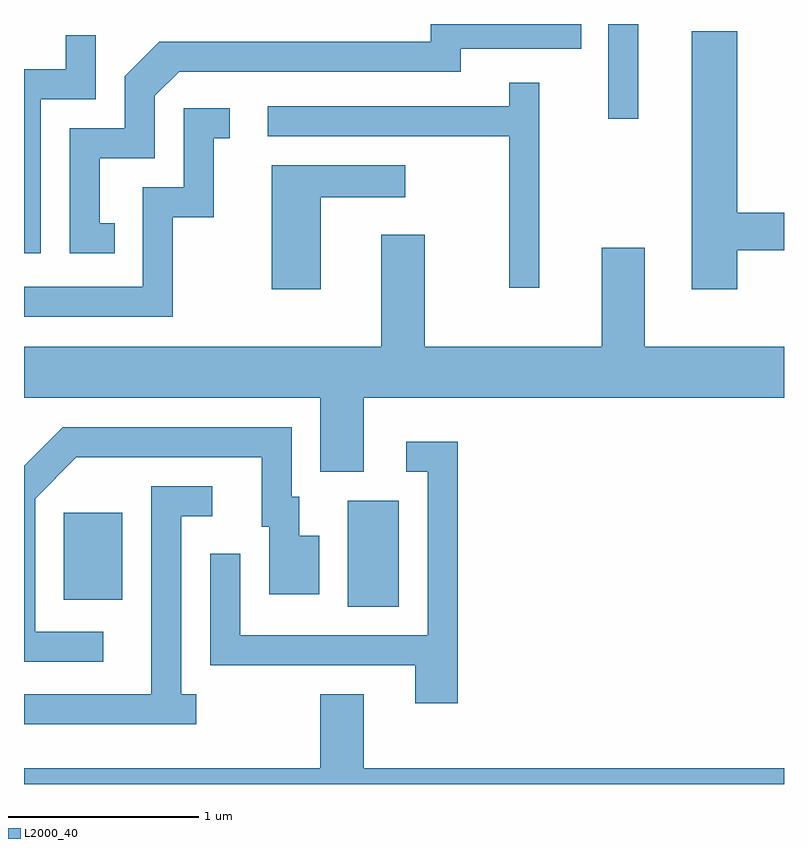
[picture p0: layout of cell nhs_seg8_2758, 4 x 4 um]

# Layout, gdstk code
import gdstk
lib = gdstk.Library(unit=1e-6, precision=1e-09)
def R(c, l, rs):  # rectangles x0, y0, x1, y1
    for r in rs: c.add(gdstk.rectangle(r[:2], r[2:], *l))
def P(c, l, *ps):  # polygons
    for p in ps: c.add(gdstk.Polygon(p, *l))
L2000_40 = (2000, 40)

nhs_seg8_2758 = lib.new_cell('nhs_seg8_2758')
R(nhs_seg8_2758, L2000_40, [(269.316,1875.276,269.584,1875.834), (267.821,1875.311,268.129,1875.769), (270.686,1877.843,270.844,1878.342)])
P(nhs_seg8_2758, L2000_40, [(268.088,1877.294),(268.009,1877.294),(268.009,1877.636),(268.299,1877.636),(268.299,1877.964),(268.427,1878.091),(269.909,1878.091),(269.909,1878.211),(270.543,1878.211),(270.543,1878.342),(269.751,1878.342),(269.751,1878.249),(268.324,1878.249),(268.141,1878.067),(268.141,1877.794),(267.851,1877.794),(267.851,1877.136),(268.088,1877.136)],
  [(271.364,1877.151),(271.611,1877.151),(271.611,1877.349),(271.364,1877.349),(271.364,1878.304),(271.126,1878.304),(271.126,1876.946),(271.364,1876.946)],
  [(267.699,1877.946),(267.989,1877.946),(267.989,1878.283),(267.831,1878.283),(267.831,1878.104),(267.611,1878.104),(267.611,1877.136),(267.699,1877.136)],
  [(270.324,1878.033),(270.166,1878.033),(270.166,1877.909),(268.893,1877.909),(268.893,1877.751),(270.166,1877.751),(270.166,1876.953),(270.324,1876.953)],
  [(268.394,1877.326),(268.609,1877.326),(268.609,1877.741),(268.693,1877.741),(268.693,1877.899),(268.451,1877.899),(268.451,1877.484),(268.236,1877.484),(268.236,1876.959),(267.611,1876.959),(267.611,1876.801),(268.394,1876.801)],
  [(269.174,1877.431),(269.618,1877.431),(269.618,1877.599),(268.916,1877.599),(268.916,1876.946),(269.174,1876.946)],
  [(269.399,1876.376),(271.611,1876.376),(271.611,1876.644),(270.879,1876.644),(270.879,1877.164),(270.651,1877.164),(270.651,1876.644),(269.719,1876.644),(269.719,1877.234),(269.491,1877.234),(269.491,1876.644),(267.611,1876.644),(267.611,1876.376),(269.171,1876.376),(269.171,1875.986),(269.399,1875.986)],
  [(268.028,1875.144),(267.669,1875.144),(267.669,1875.844),(267.887,1876.061),(268.861,1876.061),(268.861,1875.696),(268.901,1875.696),(268.901,1875.341),(269.164,1875.341),(269.164,1875.649),(269.059,1875.649),(269.059,1875.854),(269.019,1875.854),(269.019,1876.219),(267.814,1876.219),(267.611,1876.017),(267.611,1874.986),(268.028,1874.986)],
  [(269.894,1876.144),(269.623,1876.144),(269.623,1875.986),(269.736,1875.986),(269.736,1875.124),(268.749,1875.124),(268.749,1875.553),(268.591,1875.553),(268.591,1874.966),(269.671,1874.966),(269.671,1874.766),(269.894,1874.766)],
  [(268.518,1874.814),(268.439,1874.814),(268.439,1875.751),(268.603,1875.751),(268.603,1875.909),(268.281,1875.909),(268.281,1874.814),(267.611,1874.814),(267.611,1874.656),(268.518,1874.656)],
  [(271.611,1874.424),(269.399,1874.424),(269.399,1874.814),(269.171,1874.814),(269.171,1874.424),(267.611,1874.424),(267.611,1874.342),(271.611,1874.342)])

lib.write_gds('nhs_seg8_2758.gds')
